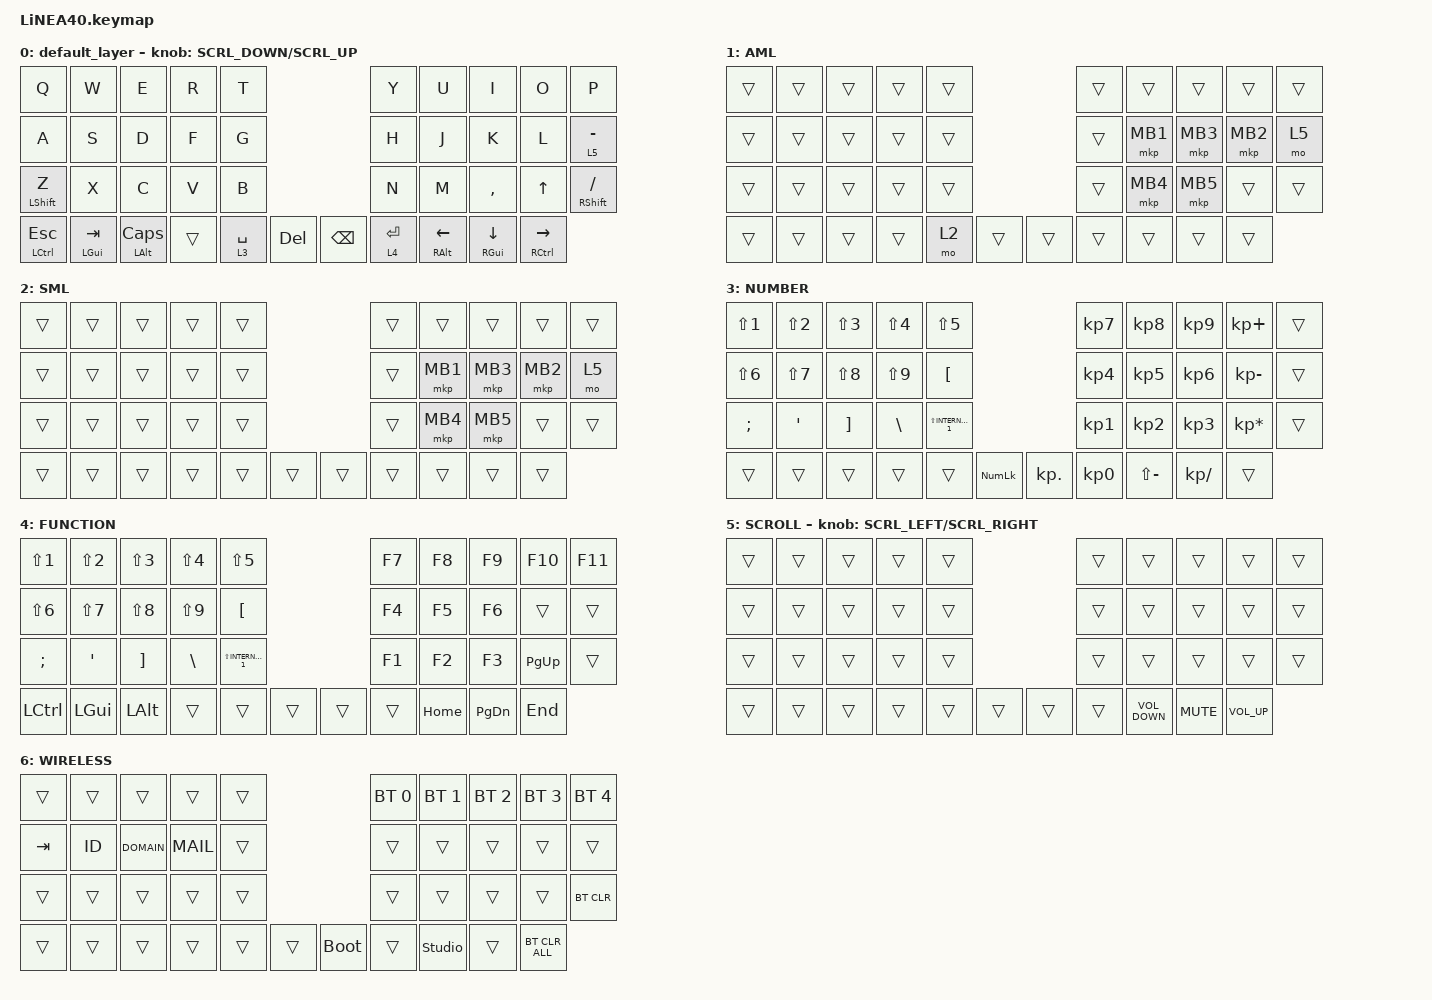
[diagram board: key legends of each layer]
#define ZMK_POINTING_DEFAULT_SCRL_VAL 150

#include <dt-bindings/zmk/input_transform.h>
#include <input/processors.dtsi>
#include <zephyr/dt-bindings/input/input-event-codes.h>
#include <behaviors.dtsi>
#include <dt-bindings/zmk/bt.h>
#include <dt-bindings/zmk/keys.h>
#include <dt-bindings/zmk/pointing.h>

#define MOUSE 1
#define MARK 2
#define CURSOR 3
#define FUNCTION 4
#define SCROLL 5
#define WIRELESS 6

//mouse cursol

&mmv {
    delay-ms = <20>;
    trigger-period-ms = <5>;
    time-to-max-speed-ms = <100>;
    acceleration-exponent = <2>;
};

//mouse scroll

&msc {
    delay-ms = <3>;
    trigger-period-ms = <3>;
    time-to-max-speed-ms = <100>;
    acceleration-exponent = <0>;
};

/ {
    input_processors {
        zip_wheel_scaler: zip_wheel_scaler {
            compatible = "zmk,input-processor-scaler";
            #input-processor-cells = <2>;
            type = <INPUT_EV_REL>;
            codes = <INPUT_REL_WHEEL>;
            track-remainders;
        };
    };
};

&msc_input_listener {
    speed_up {
        layers = <FUNCTION>;
        input-processors = <&zip_wheel_scaler 3 1>; //スクロールを3倍速にする
    };
};

&trackball_listener {
    scroller {
        layers = <SCROLL>;
        input-processors =
            <&zip_xy_transform INPUT_TRANSFORM_Y_INVERT>,
            //スクロール方向を逆転,,,,,,,,,,,,,,,,,,,,,,,,,,,,,,,,,,,,,,,
            <&zip_xy_to_scroll_mapper>;
    };
};

/ {
    combos {
        compatible = "zmk,combos";

        Wireless {
            bindings = <&mo 6>;
            key-positions = <37 34>;
        };

        Dot {
            bindings = <&kp PERIOD>;
            key-positions = <27 28>;
        };

        Underbar {
            bindings = <&kp INTERNATIONAL_1>;
            key-positions = <28 29>;
        };

        PrintScreen {
            bindings = <&kp PRINTSCREEN>;
            key-positions = <8 9>;
        };
    };

    behaviors {
        re_kp: sensor_rotate_kp {
            compatible = "zmk,behavior-sensor-rotate-var";
            #sensor-binding-cells = <2>;
            bindings = <&kp>, <&kp>;
        };

        mouse_scrl: mouse_wheel_scrl {
            compatible = "zmk,behavior-sensor-rotate-var";
            #sensor-binding-cells = <2>;
            bindings = <&msc>, <&msc>;

            tap-ms = <20>;
        };
    };

    macros {
        MAIL: MAIL {
            compatible = "zmk,behavior-macro";
            #binding-cells = <0>;
            bindings = <&kp H &kp I &kp R &kp O &kp N &kp O &kp B &kp U &kp DOT &kp Y &kp A &kp M &kp A &kp S &kp A &kp K &kp I &kp DOT>;
            label = "MAIL";
        };

        DOMAIN: DOMAIN {
            compatible = "zmk,behavior-macro";
            #binding-cells = <0>;
            bindings = <&kp LBKT &kp H &kp I &kp T &kp A &kp C &kp H &kp I &kp MINUS &kp S &kp Y &kp S &kp T &kp E &kp M &kp S &kp DOT &kp C &kp O &kp M>;
            label = "DOMAIN";
        };

        ID: ID {
            compatible = "zmk,behavior-macro";
            #binding-cells = <0>;
            bindings = <&kp LS(F) &kp N9 &kp N9 &kp N0 &kp N0 &kp N4>;
            label = "ID";
        };
    };

    keymap {
        compatible = "zmk,keymap";

        default_layer {
            bindings = <
&kp Q                 &kp W             &kp E              &kp R   &kp T                                     &kp Y        &kp U  &kp I               &kp O               &kp P
&kp A                 &kp S             &kp D              &kp F   &kp G                                     &kp H        &kp J  &kp K               &kp L               &lt 5 MINUS
&mt LEFT_SHIFT Z      &kp X             &kp C              &kp V   &kp B                                     &kp N        &kp M  &kp COMMA           &kp UP              &mt RIGHT_SHIFT SLASH
&mt LEFT_CONTROL ESC  &mt LEFT_GUI TAB  &mt LEFT_ALT CAPS  &trans  &lt 3 SPACE  &kp DELETE    &kp BACKSPACE  &lt 4 ENTER         &mt RIGHT_ALT LEFT  &mt RIGHT_GUI DOWN  &mt RIGHT_CONTROL RIGHT
            >;

            sensor-bindings = <&mouse_scrl SCRL_DOWN SCRL_UP>;
        };

        AML {
            bindings = <
&trans  &trans  &trans  &trans  &trans                    &trans  &trans    &trans    &trans    &trans
&trans  &trans  &trans  &trans  &trans                    &trans  &mkp MB1  &mkp MB3  &mkp MB2  &mo 5
&trans  &trans  &trans  &trans  &trans                    &trans  &mkp MB4  &mkp MB5  &trans    &trans
&trans  &trans  &trans  &trans  &mo 2   &trans    &trans  &trans            &trans    &trans    &trans
            >;
        };

        SML {
            bindings = <
&trans  &trans  &trans  &trans  &trans                    &trans  &trans    &trans    &trans    &trans
&trans  &trans  &trans  &trans  &trans                    &trans  &mkp MB1  &mkp MB3  &mkp MB2  &mo 5
&trans  &trans  &trans  &trans  &trans                    &trans  &mkp MB4  &mkp MB5  &trans    &trans
&trans  &trans  &trans  &trans  &trans  &trans    &trans  &trans            &trans    &trans    &trans
            >;
        };

        NUMBER {
            bindings = <
&kp LS(NUMBER_1)  &kp LS(NUMBER_2)  &kp LS(NUMBER_3)   &kp LS(NUMBER_4)  &kp LS(NUMBER_5)                                       &kp KP_NUMBER_7  &kp KP_NUMBER_8  &kp KP_NUMBER_9  &kp KP_PLUS      &trans
&kp LS(NUMBER_6)  &kp LS(NUMBER_7)  &kp LS(NUMBER_8)   &kp LS(NUMBER_9)  &kp LEFT_BRACKET                                       &kp KP_NUMBER_4  &kp KP_NUMBER_5  &kp KP_NUMBER_6  &kp KP_MINUS     &trans
&kp SEMICOLON     &kp SINGLE_QUOTE  &kp RIGHT_BRACKET  &kp BACKSLASH     &kp LS(INTERNATIONAL_1)                                &kp KP_NUMBER_1  &kp KP_NUMBER_2  &kp KP_NUMBER_3  &kp KP_ASTERISK  &trans
&trans            &trans            &trans             &trans            &trans                   &kp KP_NUMLOCK    &kp KP_DOT  &kp KP_NUMBER_0                   &kp LS(MINUS)    &kp KP_SLASH     &trans
            >;
        };

        FUNCTION {
            bindings = <
&kp LS(NUMBER_1)  &kp LS(NUMBER_2)  &kp LS(NUMBER_3)   &kp LS(NUMBER_4)  &kp LS(NUMBER_5)                           &kp F7  &kp F8  &kp F9    &kp F10        &kp F11
&kp LS(NUMBER_6)  &kp LS(NUMBER_7)  &kp LS(NUMBER_8)   &kp LS(NUMBER_9)  &kp LEFT_BRACKET                           &kp F4  &kp F5  &kp F6    &trans         &trans
&kp SEMICOLON     &kp SINGLE_QUOTE  &kp RIGHT_BRACKET  &kp BACKSLASH     &kp LS(INTERNATIONAL_1)                    &kp F1  &kp F2  &kp F3    &kp PAGE_UP    &trans
&kp LEFT_CONTROL  &kp LEFT_GUI      &kp LEFT_ALT       &trans            &trans                   &trans    &trans  &trans          &kp HOME  &kp PAGE_DOWN  &kp END
            >;
        };

        SCROLL {
            bindings = <
&trans  &trans  &trans  &trans  &trans                    &trans  &trans  &trans             &trans      &trans
&trans  &trans  &trans  &trans  &trans                    &trans  &trans  &trans             &trans      &trans
&trans  &trans  &trans  &trans  &trans                    &trans  &trans  &trans             &trans      &trans
&trans  &trans  &trans  &trans  &trans  &trans    &trans  &trans          &kp C_VOLUME_DOWN  &kp C_MUTE  &kp C_VOLUME_UP
            >;

            sensor-bindings = <&mouse_scrl SCRL_LEFT SCRL_RIGHT>;
        };

        WIRELESS {
            bindings = <
&trans   &trans  &trans   &trans  &trans                         &bt BT_SEL 0  &bt BT_SEL 1  &bt BT_SEL 2    &bt BT_SEL 3  &bt BT_SEL 4
&kp TAB  &ID     &DOMAIN  &MAIL   &trans                         &trans        &trans        &trans          &trans        &trans
&trans   &trans  &trans   &trans  &trans                         &trans        &trans        &trans          &trans        &bt BT_CLR
&trans   &trans  &trans   &trans  &trans  &trans    &bootloader  &trans                      &studio_unlock  &trans        &bt BT_CLR_ALL
            >;
        };
    };
};
